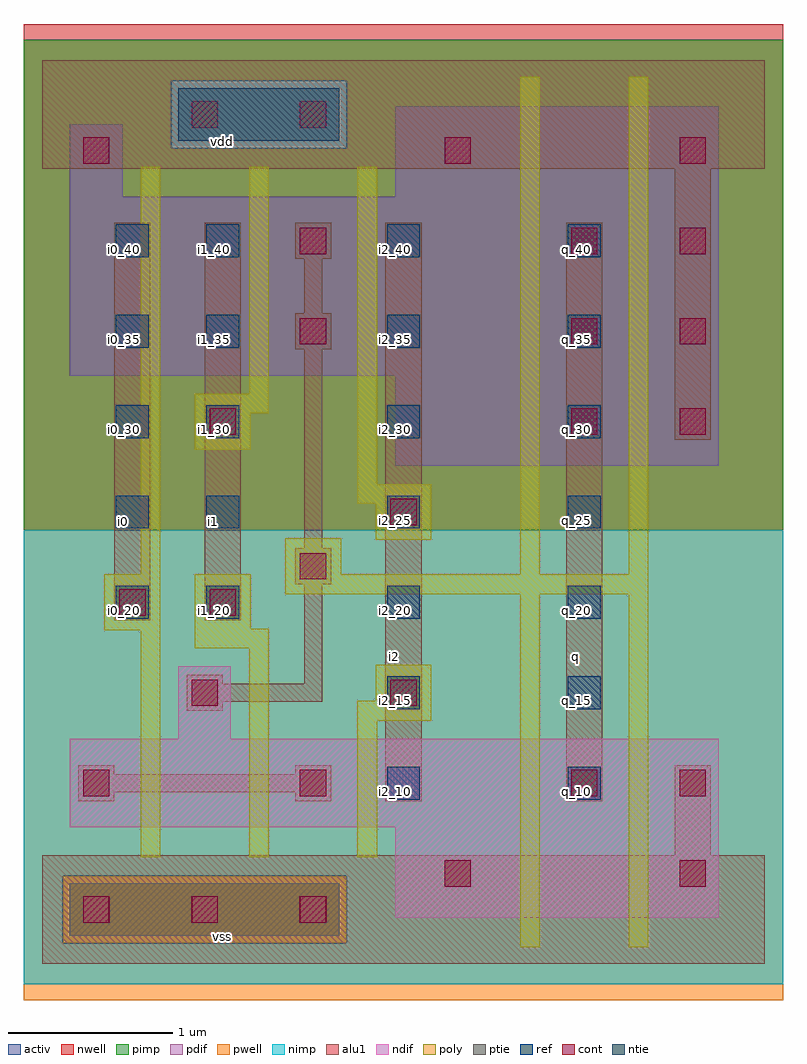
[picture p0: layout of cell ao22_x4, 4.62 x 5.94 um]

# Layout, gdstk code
import gdstk
lib = gdstk.Library(unit=1e-6, precision=2.5e-09)
def R(c, l, rs):  # rectangles x0, y0, x1, y1
    for r in rs: c.add(gdstk.rectangle(r[:2], r[2:], *l))
def A(c, l, x, y, w, h, nx, ny, dx, dy):  # array of equal rectangles
    R(c, l, [(x+i*dx, y+j*dy, x+i*dx+w, y+j*dy+h) for i in range(nx) for j in range(ny)])
ndif = (3, 0)
pdif = (4, 0)
ntie = (5, 0)
ptie = (6, 0)
ref = (24, 0)
cont = (25, 0)
pwell = (41, 0)
nwell = (42, 0)
activ = (43, 0)
pimp = (44, 0)
nimp = (45, 0)
poly = (46, 0)
alu1 = (49, 0)

ao22_x4 = lib.new_cell('ao22_x4')
R(ao22_x4, ndif, [(2.15,0.28,4.12,0.83), (2.15,0.28,4.12,0.83), (0.17,0.83,4.12,1.37), (0.17,0.83,4.12,1.37), (0.83,1.37,1.15,1.81), (0.83,1.37,1.15,1.81)])
R(ao22_x4, pdif, [(2.15,3.03,4.12,3.58), (2.15,3.03,4.12,3.58), (0.17,3.58,4.12,4.67), (0.17,3.58,4.12,4.67), (0.17,4.67,0.49,5.11), (0.17,4.67,0.49,5.11), (2.15,4.67,4.12,5.22), (2.15,4.67,4.12,5.22)])
R(ao22_x4, ntie, [(0.83,5.01,1.81,5.33), (0.83,5.01,1.81,5.33)])
R(ao22_x4, ptie, [(0.17,0.17,1.81,0.49), (0.17,0.17,1.81,0.49)])
A(ao22_x4, ref, 0.45, 2.1, 0.2, 0.2, 1, 5, 0, 0.55)
A(ao22_x4, ref, 1, 2.1, 0.2, 0.2, 3, 5, 1.1, 0.55)
R(ao22_x4, ref, [(2.1,1,2.3,1.2), (3.2,1,3.4,1.2), (2.1,1.55,2.3,1.75), (3.2,1.55,3.4,1.75)])
A(ao22_x4, cont, 0.25, 0.25, 0.16, 0.16, 3, 1, 0.66, 0)
A(ao22_x4, cont, 3.22, 3.22, 0.16, 0.16, 1, 3, 0, 0.55)
A(ao22_x4, cont, 3.88, 3.22, 0.16, 0.16, 1, 4, 0, 0.55)
R(ao22_x4, cont, [(2.45,0.47,2.61,0.63), (3.88,0.47,4.04,0.63), (0.25,1.02,0.41,1.18), (1.57,1.02,1.73,1.18), (3.22,1.02,3.38,1.18), (3.88,1.02,4.04,1.18), (0.91,1.57,1.07,1.73), (2.12,1.57,2.28,1.73), (0.47,2.12,0.63,2.28), (1.02,2.12,1.18,2.28), (1.57,2.34,1.73,2.5), (2.12,2.67,2.28,2.83), (1.02,3.22,1.18,3.38), (1.57,3.77,1.73,3.93), (1.57,4.32,1.73,4.48), (0.25,4.87,0.41,5.03), (2.45,4.87,2.61,5.03), (0.91,5.09,1.07,5.25), (1.57,5.09,1.73,5.25)])
R(ao22_x4, pwell, [(-0.11,-0.22,4.51,2.64)])
R(ao22_x4, nwell, [(-0.11,2.64,4.51,5.72)])
R(ao22_x4, activ, [(0.17,0.17,1.81,0.49), (0.17,0.17,1.81,0.49), (2.15,0.28,4.12,0.83), (2.15,0.28,4.12,0.83), (0.17,0.83,4.12,1.37), (0.17,0.83,4.12,1.37), (0.83,1.37,1.15,1.81), (0.83,1.37,1.15,1.81), (2.15,3.03,4.12,3.58), (2.15,3.03,4.12,3.58), (0.17,3.58,4.12,4.67), (0.17,3.58,4.12,4.67), (0.17,4.67,0.49,5.11), (0.17,4.67,0.49,5.11), (2.15,4.67,4.12,5.22), (2.15,4.67,4.12,5.22), (0.83,5.01,1.81,5.33), (0.83,5.01,1.81,5.33)])
R(ao22_x4, pimp, [(0.125,0.125,1.855,0.535), (-0.11,2.64,4.51,4.965), (-0.11,4.965,0.785,5.375), (1.855,4.965,4.51,5.375), (-0.11,5.375,4.51,5.625)])
R(ao22_x4, nimp, [(-0.11,-0.125,4.51,0.125), (-0.11,0.125,0.125,0.535), (1.855,0.125,4.51,0.535), (-0.11,0.535,4.51,2.64), (0.785,4.965,1.855,5.375)])
R(ao22_x4, poly, [(2.91,0.1,3.03,2.25), (3.57,0.1,3.69,2.25), (0.6,0.65,0.72,2.03), (1.26,0.65,1.38,1.92), (1.92,0.65,2.04,1.48), (1.92,1.48,2.37,1.6), (2.03,1.6,2.37,1.82), (0.93,1.92,1.38,2.04), (0.38,2.03,0.72,2.37), (0.93,2.04,1.27,2.37), (1.48,2.25,3.69,2.37), (0.6,2.37,0.72,4.85), (1.48,2.37,1.82,2.59), (2.91,2.37,3.03,5.4), (3.57,2.37,3.69,5.4), (2.03,2.58,2.37,2.8), (1.92,2.8,2.37,2.92), (1.92,2.92,2.04,4.85), (0.93,3.13,1.27,3.35), (0.93,3.35,1.38,3.47), (1.26,3.47,1.38,4.85)])
R(ao22_x4, alu1, [(0,0,4.4,0.66), (3.85,0.66,4.07,1.21), (0.22,0.99,0.44,1.045), (1.54,0.99,1.76,1.045), (2.09,0.99,2.31,4.51), (3.19,0.99,3.41,4.51), (0.22,1.045,1.76,1.155), (0.22,1.155,0.44,1.21), (1.54,1.155,1.76,1.21), (0.88,1.54,1.1,1.595), (0.88,1.595,1.705,1.705), (0.88,1.705,1.1,1.76), (1.595,1.705,1.705,2.31), (0.44,2.09,0.66,4.51), (0.99,2.09,1.21,4.51), (1.54,2.31,1.76,2.53), (1.595,2.53,1.705,3.74), (3.85,3.19,4.07,4.84), (1.54,3.74,1.76,3.96), (1.595,3.96,1.705,4.29), (1.54,4.29,1.76,4.51), (0,4.84,4.4,5.5)])
ao22_x4.add(gdstk.Label('vss', (1.1,0.165), layer=49, texttype=0))
ao22_x4.add(gdstk.Label('q', (3.245,1.87), layer=49, texttype=0))
ao22_x4.add(gdstk.Label('i2', (2.145,1.87), layer=49, texttype=0))
ao22_x4.add(gdstk.Label('i1', (1.045,2.695), layer=49, texttype=0))
ao22_x4.add(gdstk.Label('i0', (0.495,2.695), layer=49, texttype=0))
ao22_x4.add(gdstk.Label('vdd', (1.1,5.005), layer=49, texttype=0))
ao22_x4.add(gdstk.Label('i1_30', (1.05,3.25), layer=24, texttype=0))
ao22_x4.add(gdstk.Label('i1_35', (1.05,3.8), layer=24, texttype=0))
ao22_x4.add(gdstk.Label('i1_40', (1.05,4.35), layer=24, texttype=0))
ao22_x4.add(gdstk.Label('i0_40', (0.5,4.35), layer=24, texttype=0))
ao22_x4.add(gdstk.Label('i0_35', (0.5,3.8), layer=24, texttype=0))
ao22_x4.add(gdstk.Label('i0_30', (0.5,3.25), layer=24, texttype=0))
ao22_x4.add(gdstk.Label('i0_25', (0.5,2.7), layer=24, texttype=0))
ao22_x4.add(gdstk.Label('i0_20', (0.5,2.15), layer=24, texttype=0))
ao22_x4.add(gdstk.Label('i2_15', (2.15,1.6), layer=24, texttype=0))
ao22_x4.add(gdstk.Label('i2_20', (2.15,2.15), layer=24, texttype=0))
ao22_x4.add(gdstk.Label('i2_25', (2.15,2.7), layer=24, texttype=0))
ao22_x4.add(gdstk.Label('i2_30', (2.15,3.25), layer=24, texttype=0))
ao22_x4.add(gdstk.Label('i2_35', (2.15,3.8), layer=24, texttype=0))
ao22_x4.add(gdstk.Label('i2_40', (2.15,4.35), layer=24, texttype=0))
ao22_x4.add(gdstk.Label('i1_20', (1.05,2.15), layer=24, texttype=0))
ao22_x4.add(gdstk.Label('i1_25', (1.05,2.7), layer=24, texttype=0))
ao22_x4.add(gdstk.Label('q_10', (3.25,1.05), layer=24, texttype=0))
ao22_x4.add(gdstk.Label('q_40', (3.25,4.35), layer=24, texttype=0))
ao22_x4.add(gdstk.Label('q_35', (3.25,3.8), layer=24, texttype=0))
ao22_x4.add(gdstk.Label('q_30', (3.25,3.25), layer=24, texttype=0))
ao22_x4.add(gdstk.Label('q_25', (3.25,2.7), layer=24, texttype=0))
ao22_x4.add(gdstk.Label('q_20', (3.25,2.15), layer=24, texttype=0))
ao22_x4.add(gdstk.Label('q_15', (3.25,1.6), layer=24, texttype=0))
ao22_x4.add(gdstk.Label('i2_10', (2.15,1.05), layer=24, texttype=0))

lib.write_gds('ao22_x4.gds')
